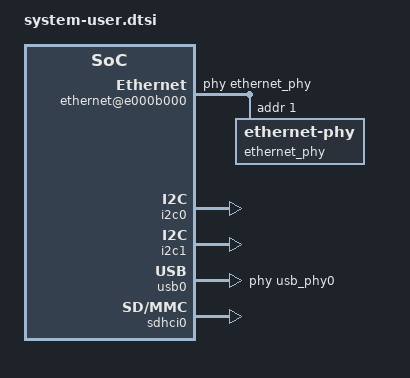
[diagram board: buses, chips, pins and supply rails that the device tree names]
/include/ "system-conf.dtsi"
/ {
    amba {



       audio0:audio-codec-ctrl@43c00000 {
            compatible = "xlnk,audio-codec-ctrl-1.0";
            reg = <0x43c00000 0x10000>;
        };



       ethernet@e000b000 {
            phy-handle = <&ethernet_phy>;
            ethernet_phy: ethernet-phy@1{
                reg = <1>;
            };
        };
    };
        usb_phy0: phy0 {
                compatible = "ulpi-phy";
                #phy-cells = <0>;
                reg = <0xe0002000 0x1000>;
                view-port = <0x170>;
                drv-vbus;
        };
};



&i2c0 {
    status = "okay";
};



&i2c1 {
    status = "okay";
};



&audio0 {
        compatible = "generic-uio";
};



&usb0 {
        usb-phy = <&usb_phy0>;
};



&sdhci0 {
    status = "okay";
};


&amba_pl {
		#address-cells = <1>;
		#size-cells = <1>;
		compatible = "simple-bus";
		ranges ;
		axi_dma_1: dma@40400000 {
			#dma-cells = <1>;
			clock-names = "s_axi_lite_aclk", "m_axi_mm2s_aclk", "m_axi_s2mm_aclk";
			clocks = <&clkc 15>, <&clkc 15>, <&clkc 15>;
			compatible = "xlnx,axi-dma-7.1", "xlnx,axi-dma-1.00.a";
			reg = <0x40400000 0x10000>;
			xlnx,addrwidth = <0x20>;
			xlnx,sg-length-width = <0xe>;
			dma-channel@40400000 {
				compatible = "xlnx,axi-dma-mm2s-channel";
				dma-channels = <0x1>;
				xlnx,datawidth = <0x40>;
				xlnx,device-id = <0x0>;
			};
			dma-channel@40400030 {
				compatible = "xlnx,axi-dma-s2mm-channel";
				dma-channels = <0x1>;
				xlnx,datawidth = <0x40>;
				xlnx,device-id = <0x0>;
			};
		};
	};


/ {
        axidmatest_1: axidmatest@1 {
                        compatible ="xlnx,axi-dma-test-1.00.a";
                        dmas = <&axi_dma_1 0
                                &axi_dma_1 1>;
                        dma-names = "axidma0", "axidma1";
        } ;


};


/ {
   reserved-memory {
      #address-cells = <1>;
      #size-cells = <1>;
      ranges;

      reserved: buffer@0x18000000 {
         no-map;
         reg = <0x18000000 0x04000000>;
      };
   };

   reserved-driver@0 {
      compatible = "xlnx,reserved-memory";
      memory-region = <&reserved>;
   };
};






